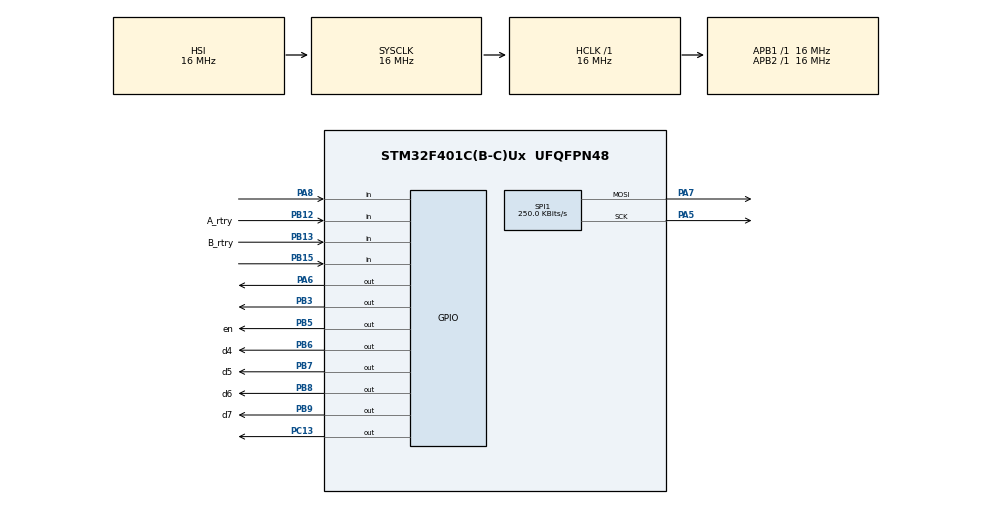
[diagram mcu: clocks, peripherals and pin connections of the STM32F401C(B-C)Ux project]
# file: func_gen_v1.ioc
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FREERTOS.Tasks01=button,24,128,buttons,Default,NULL,Dynamic,NULL,NULL;ad,8,128,ad_spi,Default,NULL,Dynamic,NULL,NULL;screen,8,128,lcd,Default,NULL,Dynamic,NULL,NULL
Mcu.Family=STM32F4
Mcu.Name=STM32F401C(B-C)Ux
Mcu.Package=UFQFPN48
NVIC.PriorityGroup=NVIC_PRIORITYGROUP_4
NVIC.TIM1_UP_TIM10_IRQn=true\:15\:0\:false\:false\:true\:false\:false\:true\:true
NVIC.TimeBase=TIM1_UP_TIM10_IRQn
NVIC.TimeBaseIP=TIM1
PA5.Mode=TX_Only_Simplex_Unidirect_Master
PA5.Signal=SPI1_SCK
PA6.Signal=GPIO_Output
PA7.Mode=TX_Only_Simplex_Unidirect_Master
PA7.Signal=SPI1_MOSI
PA8.GPIO_PuPd=GPIO_PULLUP
PA8.Signal=GPIO_Input
PB12.GPIO_Label=A_rtry
PB12.GPIO_PuPd=GPIO_PULLUP
PB12.Signal=GPIO_Input
PB13.GPIO_Label=B_rtry
PB13.GPIO_PuPd=GPIO_PULLUP
PB13.Signal=GPIO_Input
PB15.GPIO_PuPd=GPIO_PULLUP
PB15.Signal=GPIO_Input
PB3.Signal=GPIO_Output
PB5.GPIO_Label=en
PB5.Signal=GPIO_Output
PB6.GPIO_Label=d4
PB6.Signal=GPIO_Output
PB7.GPIO_Label=d5
PB7.Signal=GPIO_Output
PB8.GPIO_Label=d6
PB8.Signal=GPIO_Output
PB9.GPIO_Label=d7
PB9.Signal=GPIO_Output
PC13-ANTI_TAMP.Signal=GPIO_Output
ProjectManager.HeapSize=0x200
ProjectManager.StackSize=0x400
ProjectManager.TargetToolchain=CMake
RCC.AHBFreq_Value=16000000
RCC.APB1Freq_Value=16000000
RCC.APB2Freq_Value=16000000
RCC.CortexFreq_Value=16000000
RCC.HSE_VALUE=25000000
RCC.HSI_VALUE=16000000
RCC.LSE_VALUE=32768
RCC.SYSCLKFreq_VALUE=16000000
RCC.VCOOutputFreq_Value=192000000
SPI1.BaudRatePrescaler=SPI_BAUDRATEPRESCALER_64
SPI1.CLKPhase=SPI_PHASE_1EDGE
SPI1.CLKPolarity=SPI_POLARITY_HIGH
SPI1.CalculateBaudRate=250.0 KBits/s
SPI1.DataSize=SPI_DATASIZE_16BIT
SPI1.Direction=SPI_DIRECTION_2LINES
SPI1.Mode=SPI_MODE_MASTER
SPI1.VirtualType=VM_MASTER
VP_FREERTOS_VS_CMSIS_V2.Mode=CMSIS_V2
VP_SYS_VS_tim1.Mode=TIM1
board=custom

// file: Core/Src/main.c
/* USER CODE BEGIN Header */
/**
  ******************************************************************************
  * @file           : main.c
  * @brief          : Main program body
  ******************************************************************************
  * @attention
  *
  * Copyright (c) 2026 STMicroelectronics.
  * All rights reserved.
  *
  * This software is licensed under terms that can be found in the LICENSE file
  * in the root directory of this software component.
  * If no LICENSE file comes with this software, it is provided AS-IS.
  *
  ******************************************************************************
  */
/* USER CODE END Header */
#include "main.h"
#include "cmsis_os.h"

/* USER CODE BEGIN Includes */
#include "ad9833.h"
#include "cmsis_os2.h"
#include "stm32f4xx_hal_gpio.h"
#include <stdint.h>
#include <sys/_intsup.h>
#include "lcd.h"
#include <stdio.h>
volatile float frequency_rtry=1;
volatile uint8_t i =0;
volatile uint8_t mode=1;
volatile float increment[]={1,10,100,1000,10000,100000};
/* USER CODE END Includes */

SPI_HandleTypeDef hspi1;

/* Definitions for button */
osThreadId_t buttonHandle;
const osThreadAttr_t button_attributes = {
  .name = "button",
  .stack_size = 128 * 4,
  .priority = (osPriority_t) osPriorityNormal,
};
/* Definitions for ad */
osThreadId_t adHandle;
const osThreadAttr_t ad_attributes = {
  .name = "ad",
  .stack_size = 128 * 4,
  .priority = (osPriority_t) osPriorityLow,
};
/* Definitions for screen */
osThreadId_t screenHandle;
const osThreadAttr_t screen_attributes = {
  .name = "screen",
  .stack_size = 128 * 4,
  .priority = (osPriority_t) osPriorityLow,
};

void SystemClock_Config(void);
static void MX_GPIO_Init(void);
static void MX_SPI1_Init(void);
void buttons(void *argument);
void ad_spi(void *argument);
void lcd(void *argument);

int main(void)
{

  /* MCU Configuration--------------------------------------------------------*/

  /* Reset of all peripherals, Initializes the Flash interface and the Systick. */
  HAL_Init();

  /* Configure the system clock */
  SystemClock_Config();

  /* Initialize all configured peripherals */
  MX_GPIO_Init();
  MX_SPI1_Init();
  /* USER CODE BEGIN 2 */

  HAL_GPIO_WritePin(GPIOA, GPIO_PIN_6, GPIO_PIN_SET);
  HAL_GPIO_WritePin(GPIOC, GPIO_PIN_13,GPIO_PIN_RESET);
  ad_setup();
  HAL_Delay(1000);
  HAL_GPIO_WritePin(GPIOC, GPIO_PIN_13,GPIO_PIN_SET);
  /* USER CODE END 2 */

  /* Init scheduler */
  osKernelInitialize();

  /* Create the thread(s) */
  /* creation of button */
  buttonHandle = osThreadNew(buttons, NULL, &button_attributes);

  /* creation of ad */
  adHandle = osThreadNew(ad_spi, NULL, &ad_attributes);

  /* creation of screen */
  screenHandle = osThreadNew(lcd, NULL, &screen_attributes);

  /* Start scheduler */
  osKernelStart();

  /* We should never get here as control is now taken by the scheduler */

  /* Infinite loop */
  while (1)
  {

  }
}

void SystemClock_Config(void)
{
  RCC_OscInitTypeDef RCC_OscInitStruct = {0};
  RCC_ClkInitTypeDef RCC_ClkInitStruct = {0};

  /** Configure the main internal regulator output voltage
  */
  __HAL_RCC_PWR_CLK_ENABLE();
  __HAL_PWR_VOLTAGESCALING_CONFIG(PWR_REGULATOR_VOLTAGE_SCALE2);

  /** Initializes the RCC Oscillators according to the specified parameters
  * in the RCC_OscInitTypeDef structure.
  */
  RCC_OscInitStruct.OscillatorType = RCC_OSCILLATORTYPE_HSI;
  RCC_OscInitStruct.HSIState = RCC_HSI_ON;
  RCC_OscInitStruct.HSICalibrationValue = RCC_HSICALIBRATION_DEFAULT;
  RCC_OscInitStruct.PLL.PLLState = RCC_PLL_NONE;
  if (HAL_RCC_OscConfig(&RCC_OscInitStruct) != HAL_OK)
  {
    Error_Handler();
  }

  /** Initializes the CPU, AHB and APB buses clocks
  */
  RCC_ClkInitStruct.ClockType = RCC_CLOCKTYPE_HCLK|RCC_CLOCKTYPE_SYSCLK
                              |RCC_CLOCKTYPE_PCLK1|RCC_CLOCKTYPE_PCLK2;
  RCC_ClkInitStruct.SYSCLKSource = RCC_SYSCLKSOURCE_HSI;
  RCC_ClkInitStruct.AHBCLKDivider = RCC_SYSCLK_DIV1;
  RCC_ClkInitStruct.APB1CLKDivider = RCC_HCLK_DIV1;
  RCC_ClkInitStruct.APB2CLKDivider = RCC_HCLK_DIV1;

  if (HAL_RCC_ClockConfig(&RCC_ClkInitStruct, FLASH_LATENCY_0) != HAL_OK)
  {
    Error_Handler();
  }
}

static void MX_SPI1_Init(void)
{

  /* SPI1 parameter configuration*/
  hspi1.Instance = SPI1;
  hspi1.Init.Mode = SPI_MODE_MASTER;
  hspi1.Init.Direction = SPI_DIRECTION_2LINES;
  hspi1.Init.DataSize = SPI_DATASIZE_16BIT;
  hspi1.Init.CLKPolarity = SPI_POLARITY_HIGH;
  hspi1.Init.CLKPhase = SPI_PHASE_1EDGE;
  hspi1.Init.NSS = SPI_NSS_SOFT;
  hspi1.Init.BaudRatePrescaler = SPI_BAUDRATEPRESCALER_64;
  hspi1.Init.FirstBit = SPI_FIRSTBIT_MSB;
  hspi1.Init.TIMode = SPI_TIMODE_DISABLE;
  hspi1.Init.CRCCalculation = SPI_CRCCALCULATION_DISABLE;
  hspi1.Init.CRCPolynomial = 10;
  if (HAL_SPI_Init(&hspi1) != HAL_OK)
  {
    Error_Handler();
  }

}

static void MX_GPIO_Init(void)
{
  GPIO_InitTypeDef GPIO_InitStruct = {0};

  /* GPIO Ports Clock Enable */
  __HAL_RCC_GPIOC_CLK_ENABLE();
  __HAL_RCC_GPIOA_CLK_ENABLE();
  __HAL_RCC_GPIOB_CLK_ENABLE();

  /*Configure GPIO pin Output Level */
  HAL_GPIO_WritePin(GPIOC, GPIO_PIN_13, GPIO_PIN_RESET);

  /*Configure GPIO pin Output Level */
  HAL_GPIO_WritePin(GPIOA, GPIO_PIN_6, GPIO_PIN_RESET);

  /*Configure GPIO pin Output Level */
  HAL_GPIO_WritePin(GPIOB, GPIO_PIN_3|en_Pin|d4_Pin|d5_Pin
                          |d6_Pin|d7_Pin, GPIO_PIN_RESET);

  /*Configure GPIO pin : PC13 */
  GPIO_InitStruct.Pin = GPIO_PIN_13;
  GPIO_InitStruct.Mode = GPIO_MODE_OUTPUT_PP;
  GPIO_InitStruct.Pull = GPIO_NOPULL;
  GPIO_InitStruct.Speed = GPIO_SPEED_FREQ_LOW;
  HAL_GPIO_Init(GPIOC, &GPIO_InitStruct);

  /*Configure GPIO pin : PA6 */
  GPIO_InitStruct.Pin = GPIO_PIN_6;
  GPIO_InitStruct.Mode = GPIO_MODE_OUTPUT_PP;
  GPIO_InitStruct.Pull = GPIO_NOPULL;
  GPIO_InitStruct.Speed = GPIO_SPEED_FREQ_LOW;
  HAL_GPIO_Init(GPIOA, &GPIO_InitStruct);

  /*Configure GPIO pins : A_rtry_Pin B_rtry_Pin PB15 */
  GPIO_InitStruct.Pin = A_rtry_Pin|B_rtry_Pin|GPIO_PIN_15;
  GPIO_InitStruct.Mode = GPIO_MODE_INPUT;
  GPIO_InitStruct.Pull = GPIO_PULLUP;
  HAL_GPIO_Init(GPIOB, &GPIO_InitStruct);

  /*Configure GPIO pin : PA8 */
  GPIO_InitStruct.Pin = GPIO_PIN_8;
  GPIO_InitStruct.Mode = GPIO_MODE_INPUT;
  GPIO_InitStruct.Pull = GPIO_PULLUP;
  HAL_GPIO_Init(GPIOA, &GPIO_InitStruct);

  /*Configure GPIO pins : PB3 en_Pin d4_Pin d5_Pin
                           d6_Pin d7_Pin */
  GPIO_InitStruct.Pin = GPIO_PIN_3|en_Pin|d4_Pin|d5_Pin
                          |d6_Pin|d7_Pin;
  GPIO_InitStruct.Mode = GPIO_MODE_OUTPUT_PP;
  GPIO_InitStruct.Pull = GPIO_NOPULL;
  GPIO_InitStruct.Speed = GPIO_SPEED_FREQ_LOW;
  HAL_GPIO_Init(GPIOB, &GPIO_InitStruct);

}

void buttons(void *argument)
{
  /* USER CODE BEGIN 5 */

    GPIO_PinState prevA = HAL_GPIO_ReadPin(GPIOB, GPIO_PIN_12);

    for(;;)
    {
        GPIO_PinState A = HAL_GPIO_ReadPin(GPIOB, GPIO_PIN_12);

        // Falling edge of A
        if ((prevA == GPIO_PIN_SET) && (A == GPIO_PIN_RESET))
        {
            GPIO_PinState B = HAL_GPIO_ReadPin(GPIOB, GPIO_PIN_13);

            if (B == GPIO_PIN_SET)
            {
                frequency_rtry+= increment[i];      // Clockwise
                ad_frequency(frequency_rtry);
                if(frequency_rtry>6000000)
                {
                  frequency_rtry=6000000;
                }

            }
            else
            {
                frequency_rtry-=increment[i];      // Counter-clockwise
                ad_frequency(frequency_rtry);
                if(frequency_rtry<=0)
                {
                  frequency_rtry=1;
                }
            }

            osDelay(10);
        }
        prevA = A;
        osDelay(1);
      }

  /* USER CODE END 5 */
}

void ad_spi(void *argument)
{
  /* USER CODE BEGIN ad_spi */
  /* Infinite loop */

  GPIO_PinState prevBtn = HAL_GPIO_ReadPin(GPIOA, GPIO_PIN_8);
  GPIO_PinState prevBtn_mode = HAL_GPIO_ReadPin(GPIOB, GPIO_PIN_15);
  for(;;)
  {
    GPIO_PinState btn = HAL_GPIO_ReadPin(GPIOA, GPIO_PIN_8);
    GPIO_PinState btn_mode = HAL_GPIO_ReadPin(GPIOB, GPIO_PIN_15);
    if ((prevBtn == GPIO_PIN_SET) && (btn == GPIO_PIN_RESET))
      {
        i++;
        if(i>5)
        {
          i=0;

        }
        osDelay(700);
      }
    if ((prevBtn_mode == GPIO_PIN_SET) && (btn_mode == GPIO_PIN_RESET))
      {
        mode++;
        if(mode>3)
        {
          mode=1;

        }
        ad_mode_select(mode);
        osDelay(700);
      }

    osDelay(1);

  }
  /* USER CODE END ad_spi */
}

void lcd(void *argument)
{
  /* USER CODE BEGIN lcd */
  LCD_Init();
  LCD_Clear();
  LCD_SetCursor(0, 14);
  char hz[3];
  snprintf(hz, sizeof(hz), "hz");
  char mode1[]="sine";
  char mode2[]="triangle";
  char mode3[]="square";
  char tenraisedto[]="+10^";

  /* Infinite loop */
  for(;;)
  {
    char freq[16];
    snprintf(freq, sizeof(freq), "%d", (int)frequency_rtry);
    LCD_Clear();
    LCD_SetCursor(0, 0);
    LCD_PrintString(freq);
    LCD_SetCursor(0, 14);
    LCD_PrintString(hz);
    LCD_SetCursor(1, 0);
    if(mode==1)
    {

      LCD_PrintString(mode1);
    }
    else if (mode==2) {
      LCD_PrintString(mode2);
    }
    else if (mode==3) {
      LCD_PrintString(mode3);
    }
    LCD_SetCursor(1, 11);
    LCD_PrintString(tenraisedto);

    LCD_SetCursor(1, 15);
    char incr[16];
    snprintf(incr, sizeof(incr), "%d", (int)i);
    LCD_PrintString(incr);
    osDelay(700);
  }
  /* USER CODE END lcd */
}

void HAL_TIM_PeriodElapsedCallback(TIM_HandleTypeDef *htim)
{
  if (htim->Instance == TIM1)
  {
    HAL_IncTick();
  }
}

void Error_Handler(void)
{
  __disable_irq();
  while (1)
  {
  }
}
